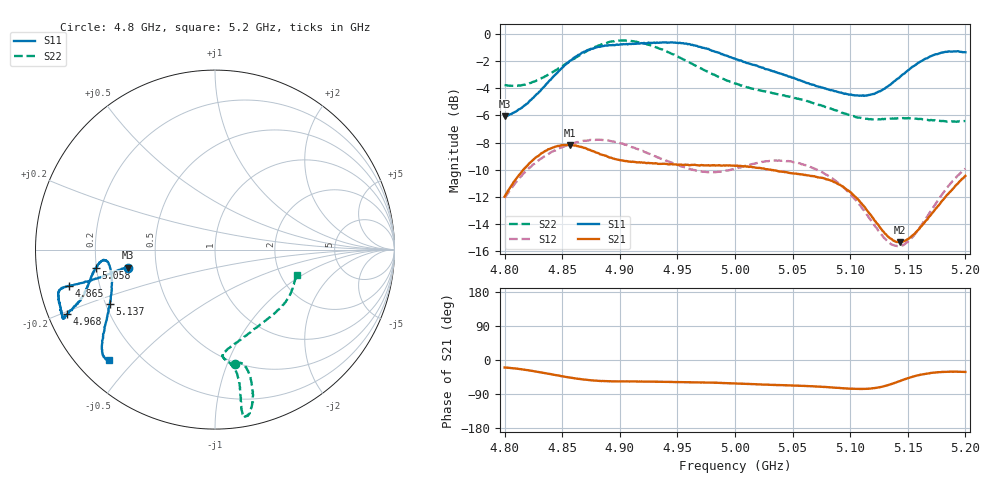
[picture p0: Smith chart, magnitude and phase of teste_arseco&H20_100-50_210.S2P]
! Network Analyzer HP8722D
! Hewlett-Packard
! Data name: Linha & Wilkinson
! Saver's name: Rodrigo Anjos
! Comments: Teste da utilização de aquisição
! continua pelo VNA HP8722D
! Time and date: 6/5/2025 14:19
!  Frequency  S11  S21  S12  S22
# HZ  S  MA R 50
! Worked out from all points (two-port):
!   401 points, 4.8 GHz to 5.2 GHz, reference 50 ohm
!   highest |S21| = -8.17 dB at 4.857 GHz (marker M1); lowest = -15.3 dB at 5.143 GHz (marker M2)
!   |S21| within 3 dB of the highest: 4.806 GHz to 5.092 GHz (286.4 MHz wide, 5.79 % of centre); 5.191445 GHz to end of sweep
!   lowest |S11| = -6.1 dB at 4.8 GHz (marker M3), VSWR 2.98, Z = 16.9 - j4.56 ohm
!   |S11| at or under -10 dB: nowhere
!   |S22| runs from -6.5 to -0.5 dB; largest |S21 - S12| = 0.62
!   S11 on the Smith chart (normalised r, x): 4.8 GHz: 0.34, -0.09; 4.865 GHz: 0.09, -0.12; 4.968 GHz: 0.06, -0.21; 5.058 GHz: 0.20, -0.07; 5.137 GHz: 0.22, -0.23; 5.2 GHz: 0.09, -0.42
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4.8e9  0.4973 -168.2  0.2522 -19.8  0.2494 -141.1  0.648 -80.3
4.828e9  0.6007 -167.2  0.3534 -30.7  0.3391 -145.1  0.675 -75.4
4.857e9  0.7966 -166.0  0.3906 -46.5  0.3922 -150.4  0.7933 -74.8
4.865e9  0.839 -166.0  0.3848 -50.0  0.4011 -151.8  0.8325 -75.3
4.867e9  0.8521 -166.0  0.3835 -51.0  0.4026 -152.1  0.8429 -75.5
4.882e9  0.895 -165.3  0.363 -55.1  0.4081 -154.6  0.9066 -77.2
4.899e9  0.9109 -163.0  0.3441 -56.7  0.3976 -156.8  0.9438 -79.1
4.934e9  0.9265 -156.6  0.3327 -57.6  0.3508 -155.8  0.8827 -80.5
4.968e9  0.8968 -156.5  0.3288 -59.1  0.3137 -147.6  0.7553 -79.6
5e9  0.81 -159.1  0.327 -62.0  0.3195 -137.4  0.6563 -81.3
5.033e9  0.7279 -165.0  0.3156 -65.7  0.3421 -134.5  0.6048 -85.6
5.058e9  0.6708 -171.3  0.3043 -68.2  0.3313 -136.1  0.5728 -84.5
5.067e9  0.6499 -173.1  0.3002 -69.1  0.3222 -136.9  0.5577 -82.6
5.082e9  0.6224 -174.8  0.2901 -72.1  0.299 -138.4  0.5321 -77.3
5.101e9  0.5972 -172.1  0.2603 -75.8  0.255 -138.9  0.5006 -66.5
5.116e9  0.5959 -165.6  0.2206 -75.9  0.2119 -135.5  0.4856 -55.8
5.134e9  0.6465 -154.2  0.1779 -65.1  0.1705 -120.6  0.4873 -43.3
5.137e9  0.661 -152.5  0.1743 -62.3  0.1676 -116.7  0.4884 -41.5
5.143e9  0.6922 -149.4  0.1712 -55.8  0.1658 -108.8  0.4898 -38.1
5.154e9  0.7564 -144.5  0.1813 -44.3  0.1788 -94.9  0.4884 -32.3
5.172e9  0.8334 -139.1  0.2212 -33.6  0.23 -81.3  0.4808 -24.5
5.2e9  0.8549 -133.7  0.3005 -31.5  0.3193 -77.0  0.4778 -17.6
